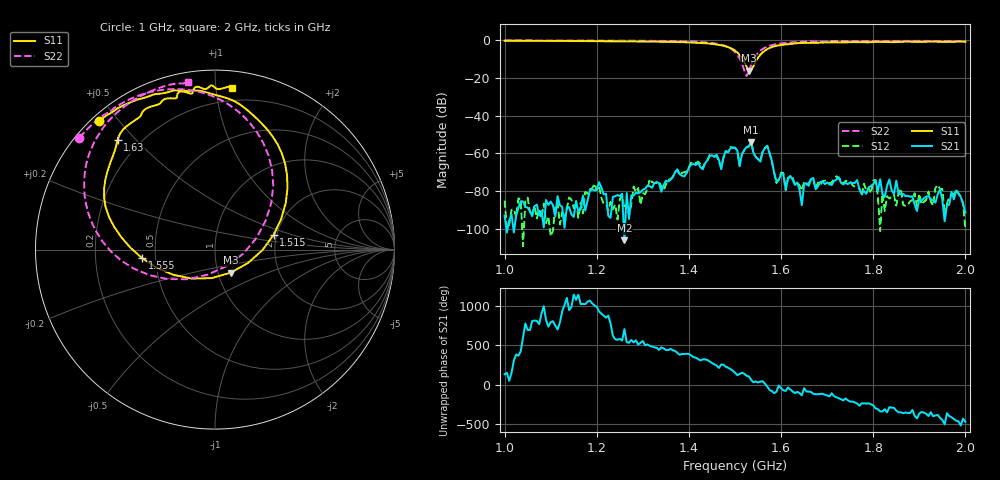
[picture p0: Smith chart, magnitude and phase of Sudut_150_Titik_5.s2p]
# Hz S RI R 50
! CMT, C1220, 16058040, 17.2.0/1
! Date: 14/08/2018 11:48:25
! Data: Format (Calibration Info)
! Freq  S11: Re/Im (F2)  S21: Re/Im (F2)  S12: Re/Im (F2)  S22: Re/Im (F2)
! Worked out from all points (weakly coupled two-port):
!   201 points, 1 GHz to 2 GHz, reference 50 ohm
!   highest |S21| = -53.97 dB at 1.535 GHz (marker M1); lowest = -106.0 dB at 1.26 GHz (marker M2)
!   lowest |S11| = -16.2 dB at 1.53 GHz (marker M3), VSWR 1.37, Z = 57.4 - j15.2 ohm
!   |S11| at or under -10 dB: 1.516 GHz to 1.548 GHz (32.02 MHz wide, 2.09 % of centre)
!   |S22| runs from -19.0 to -0.2 dB; largest |S21 - S12| = 0.00021
!   S11 on the Smith chart (normalised r, x): 1 GHz: 0.02, +0.44; 1.515 GHz: 1.93, +0.35; 1.555 GHz: 0.42, -0.05; 1.63 GHz: 0.12, +0.44; 2 GHz: 0.11, +1.11
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1e9  -0.6473 0.7148  -1.56e-05 1.65e-05  -3.21e-05 4.69e-05  -0.755 0.6241
1.17e9  -0.4675 0.822  3.9e-05 -6.66e-05  2.59e-05 4.02e-07  -0.6182 0.7506
1.26e9  -0.3352 0.866  4.8e-06 -1.49e-06  -3.52e-05 2.37e-06  -0.5238 0.8125
1.335e9  -0.2034 0.8853  3.01e-05 0.000162  3.35e-05 0.000176  -0.4008 0.866
1.345e9  -0.1796 0.8838  -2.76e-05 0.000143  -1.9e-05 0.000102  -0.3798 0.8727
1.45e9  0.1832 0.7747  7.99e-05 -0.000895  2.03e-05 -0.000891  0.0217 0.8389
1.47e9  0.2924 0.6674  -9.1e-05 -0.000374  -9.72e-05 -0.000407  0.1615 0.7405
1.5e9  0.4039 0.3425  -0.00127 0.000642  -0.00127 0.00064  0.3245 0.3575
1.51e9  0.3689 0.1715  -0.000336 0.000316  -0.000306 0.000407  0.2825 0.1619
1.515e9  0.3265 0.0817  -0.000848 0.00042  -0.000854 0.000425  0.2313 0.0652
1.53e9  0.0871 -0.1288  -0.000443 0.00147  -0.000438 0.00147  -0.0407 -0.1396
1.535e9  -0.0186 -0.1586  0.000923 0.00178  0.000918 0.00176  -0.1509 -0.1648
1.555e9  -0.407 -0.0469  0.000462 0.000397  0.000463 0.000475  -0.5234 -0.0606
1.57e9  -0.563 0.1287  0.00145 -0.000585  0.00149 -0.0006  -0.6637 0.1035
1.59e9  -0.6173 0.3462  1.34e-05 -0.000181  -1.36e-05 -0.000164  -0.7262 0.2992
1.63e9  -0.5431 0.6103  -3.62e-05 -0.000144  1.96e-05 -0.000153  -0.6973 0.5419
1.67e9  -0.4302 0.7302  -9.31e-05 -0.000204  -4.95e-05 -0.000197  -0.6277 0.6721
1.775e9  -0.2261 0.8422  -5.22e-05 7.03e-05  -3.11e-05 6.87e-05  -0.4617 0.8279
1.805e9  -0.2028 0.8755  8.92e-05 0.00017  0.000104 0.000171  -0.4177 0.8537
1.825e9  -0.1594 0.8762  4.24e-05 5.58e-05  1.58e-05 2.56e-05  -0.3904 0.8677
1.835e9  -0.1373 0.869  4.03e-05 0.000201  6.32e-05 8.7e-06  -0.3775 0.874
2e9  0.097 0.9022  -7.79e-06 -2.61e-05  9.2e-06 8.9e-07  -0.1521 0.9342
